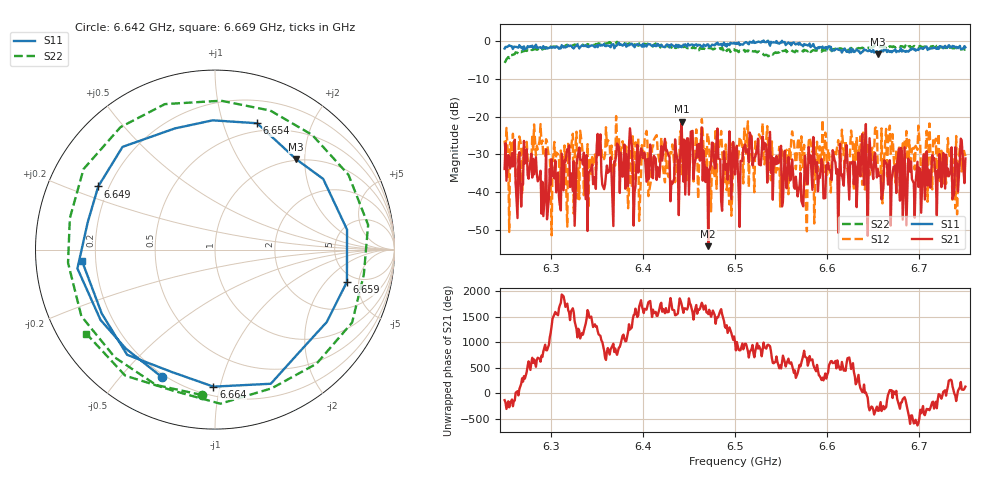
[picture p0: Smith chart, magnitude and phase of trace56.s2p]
# Hz S RI R 50
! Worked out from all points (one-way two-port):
!   401 points, 6.25 GHz to 6.75 GHz, reference 50 ohm
!   highest |S21| = -21.35 dB at 6.442 GHz (marker M1); lowest = -54.4 dB at 6.471 GHz (marker M2)
!   lowest |S11| = -3.4 dB at 6.655 GHz (marker M3), VSWR 5.19, Z = 48.9 + j90.9 ohm
!   |S11| at or under -10 dB: nowhere
!   |S22| runs from -5.7 to -0.1 dB; largest |S21 - S12| = 0.13
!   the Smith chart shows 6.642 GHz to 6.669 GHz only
!   S11 on the Smith chart (normalised r, x): 6.642 GHz: 0.19, -0.65; 6.649 GHz: 0.16, +0.25; 6.654 GHz: 0.42, +1.30; 6.659 GHz: 4.17, -3.51; 6.664 GHz: 0.26, -0.95; 6.669 GHz: 0.15, -0.04
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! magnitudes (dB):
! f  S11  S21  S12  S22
! 6.25 GHz  -1.9  -33.9  -26.4  -5.7
! 6.309 GHz  -1.9  -41.3  -31.2  -1.5
! 6.334 GHz  -1.0  -31.4  -27.7  -0.8
! 6.34 GHz  -1.1  -50.3  -27.3  -0.7
! 6.352 GHz  -0.9  -30.2  -29.9  -0.5
! 6.358 GHz  -0.7  -39.2  -31.2  -0.6
! 6.418 GHz  -1.1  -36.0  -32.1  -1.1
! 6.442 GHz  -1.5  -21.3  -35.7  -1.3
! 6.471 GHz  -0.8  -54.4  -25.4  -1.8
! 6.5 GHz  -0.6  -35.3  -28.3  -2.4
! 6.571 GHz  -0.8  -34.9  -34.2  -2.4
! 6.584 GHz  -1.0  -39.4  -29.4  -2.4
! 6.642 GHz  -2.3  -21.9  -32.6  -1.8
! 6.649 GHz  -2.6  -34.4  -28.2  -1.6
! 6.654 GHz  -2.6  -36.1  -22.7  -1.6
! 6.655 GHz  -3.4  -34.0  -35.0  -1.6
! 6.659 GHz  -2.4  -41.9  -23.1  -1.3
! 6.664 GHz  -2.3  -32.3  -23.2  -1.6
! 6.668 GHz  -2.8  -31.5  -22.4  -1.3
! 6.669 GHz  -2.6  -48.9  -29.8  -1.3
! 6.739 GHz  -1.6  -28.1  -44.3  -1.6
! 6.75 GHz  -1.6  -31.1  -30.5  -2.1
